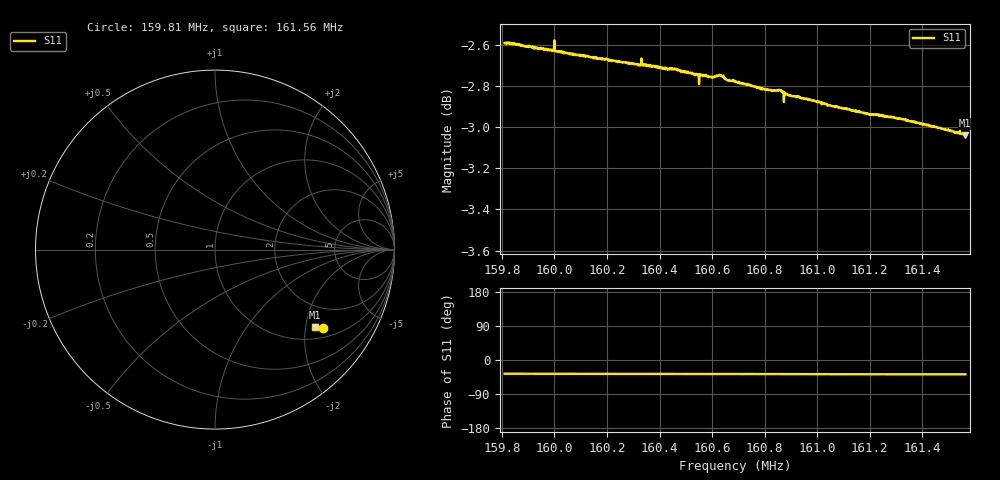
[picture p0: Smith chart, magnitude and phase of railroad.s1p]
! Calibrated averaged scanner-service zoom
# Hz S RI R 50
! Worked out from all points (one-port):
!   1001 points, 159.81 MHz to 161.56 MHz, reference 50 ohm
!   lowest |S11| = -3.0 dB at 161.56 MHz (marker M1), VSWR 5.77, Z = 65.6 - j113 ohm
!   |S11| at or under -10 dB: nowhere
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1.5981e8  0.599 -0.4381
1.598451e8  0.5986 -0.4385
1.599802e8  0.5948 -0.4386
1.59996e8  0.5944 -0.4391
1.600294e8  0.5936 -0.4385
1.600803e8  0.5929 -0.4379
1.602488e8  0.5894 -0.4379
1.603172e8  0.5882 -0.4381
1.603383e8  0.5884 -0.4379
1.604225e8  0.5865 -0.4369
1.604681e8  0.5854 -0.4375
1.605418e8  0.5836 -0.4374
1.605962e8  0.5824 -0.4371
1.606348e8  0.5834 -0.4368
1.606629e8  0.5811 -0.4367
1.606875e8  0.5807 -0.4366
1.608016e8  0.5768 -0.4359
1.608542e8  0.5762 -0.4364
1.608788e8  0.5747 -0.4363
1.609069e8  0.5737 -0.4355
1.610069e8  0.571 -0.4355
1.61049e8  0.5689 -0.4356
1.611262e8  0.5669 -0.4357
1.612017e8  0.5653 -0.4344
1.612386e8  0.565 -0.4343
1.613456e8  0.5623 -0.4345
1.615632e8  0.5566 -0.4324
1.61565e8  0.5569 -0.4324
